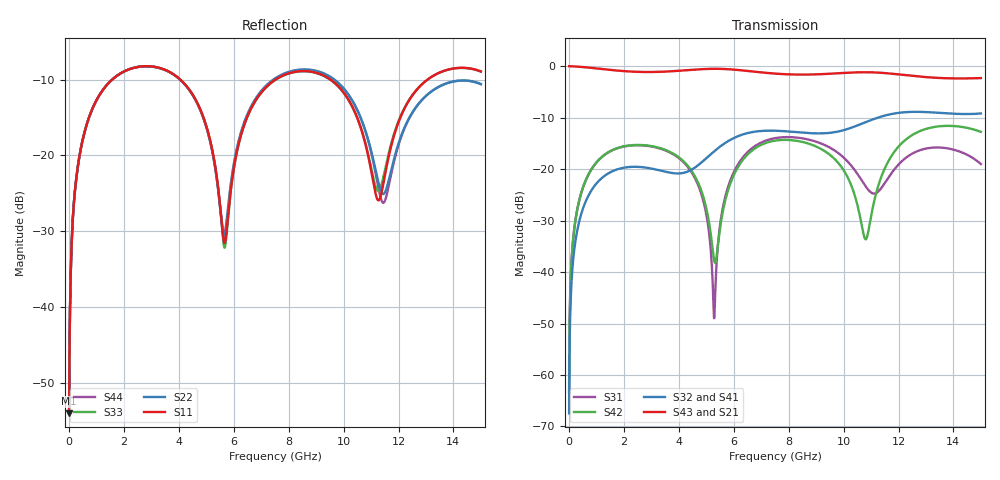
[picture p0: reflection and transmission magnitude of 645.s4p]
! Created with skrf 1.8.0 (http://scikit-rf.org).
# GHz S RI R 50.0
!freq ReS11 ImS11 ReS12 ImS12 ReS13 ImS13
! ReS14 ImS14
! ReS21 ImS21 ReS22 ImS22 ReS23 ImS23
! ReS24 ImS24
! ReS31 ImS31 ReS32 ImS32 ReS33 ImS33
! ReS34 ImS34
! ReS41 ImS41 ReS42 ImS42 ReS43 ImS43
! ReS44 ImS44
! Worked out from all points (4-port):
!   2499 points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, 5 MHz to 15 GHz, reference 50 ohm
!   strongest paths, dB at 5 MHz, 3.476 GHz, 7.19 GHz, 11.1 GHz, 15 GHz:
!     S43: 0.0, -1.1, -1.3, -1.2, -2.3
!     S21: 0.0, -1.1, -1.3, -1.2, -2.3
!     S32: -67.4, -20.5, -12.5, -10.3, -9.2
!     S41: -67.4, -20.5, -12.6, -10.3, -9.2
!     S42: -63.3, -16.2, -14.9, -26.6, -12.8
!     S31: -63.3, -16.3, -14.4, -24.8, -19.0
!   lowest |S11| = -54.1 dB at 5 MHz (marker M1), VSWR 1.00, Z = 50.2 + j0.12 ohm
!   |S11| at or under -10 dB: start of sweep to 1.572 GHz; 4.055 GHz to 7.52 GHz (3.465 GHz wide, 59.9 % of centre); 9.523 GHz to 13.06 GHz (3.535 GHz wide, 31.3 % of centre)
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0.005  0.00158 0.00119  0.9984 -0.00308  8.1e-05 0.000679  -7.85e-05 -0.000417
       0.9984 -0.00308  0.00158 0.00119  -7.85e-05 -0.000417  8.11e-05 0.000679
       8.1e-05 0.000679  -7.85e-05 -0.000417  0.00158 0.00119  0.9984 -0.00308
       -7.85e-05 -0.000417  8.11e-05 0.000679  0.9984 -0.00308  0.00158 0.00119
0.3126303  0.0227 0.0788  0.969 -0.1919  0.011 0.0405  -0.00914 -0.0246
           0.969 -0.1919  0.0227 0.0788  -0.00915 -0.0246  0.0111 0.0404
           0.011 0.0405  -0.00915 -0.0246  0.0227 0.0788  0.969 -0.1919
           -0.00914 -0.0246  0.0111 0.0404  0.969 -0.1919  0.0227 0.0788
1.569404  0.261 0.178  0.5659 -0.7185  0.1341 0.0712  -0.0945 -0.00885
          0.5659 -0.7185  0.2603 0.1785  -0.0945 -0.00877  0.136 0.0688
          0.1341 0.0712  -0.0945 -0.00877  0.261 0.178  0.5659 -0.7185
          -0.0945 -0.00885  0.136 0.0688  0.5659 -0.7185  0.2604 0.1785
5.283451  0.0427 -0.0836  -0.8987 -0.2801  0.00356 -0.000203  -0.0399 0.1428
          -0.8987 -0.2801  0.0444 -0.0803  -0.039 0.1431  -0.0119 -0.00561
          0.00356 -0.000203  -0.039 0.1431  0.0413 -0.084  -0.8987 -0.2802
          -0.0399 0.1428  -0.0119 -0.00561  -0.8987 -0.2802  0.0457 -0.0799
8.897457  0.3504 -0.0545  0.033 0.8287  0.1505 -0.1128  0.2068 -0.0762
          0.033 0.8287  0.3598 -0.0535  0.2076 -0.0801  0.1533 -0.0739
          0.1505 -0.1128  0.2076 -0.0801  0.3496 -0.0479  0.0328 0.8289
          0.2068 -0.0762  0.1533 -0.0739  0.0328 0.8289  0.3595 -0.0597
10.8045  0.0771 -0.088  0.766 0.4155  -0.0546 -0.0404  0.1303 -0.2538
         0.766 0.4155  0.0911 -0.1112  0.1245 -0.2569  0.0207 -0.00127
         -0.0546 -0.0404  0.1245 -0.2569  0.0841 -0.0834  0.766 0.4157
         0.1303 -0.2538  0.0207 -0.00127  0.766 0.4157  0.0842 -0.1146
15  0.3383 -0.1165  -0.1067 -0.7576  0.0808 -0.0774  -0.3328 0.0932
    -0.1067 -0.7576  0.2907 -0.0486  -0.3316 0.1019  0.0875 -0.2124
    0.0808 -0.0774  -0.3316 0.1019  0.3384 -0.1135  -0.1059 -0.7578
    -0.3328 0.0932  0.0875 -0.2124  -0.1059 -0.7578  0.2909 -0.0527
